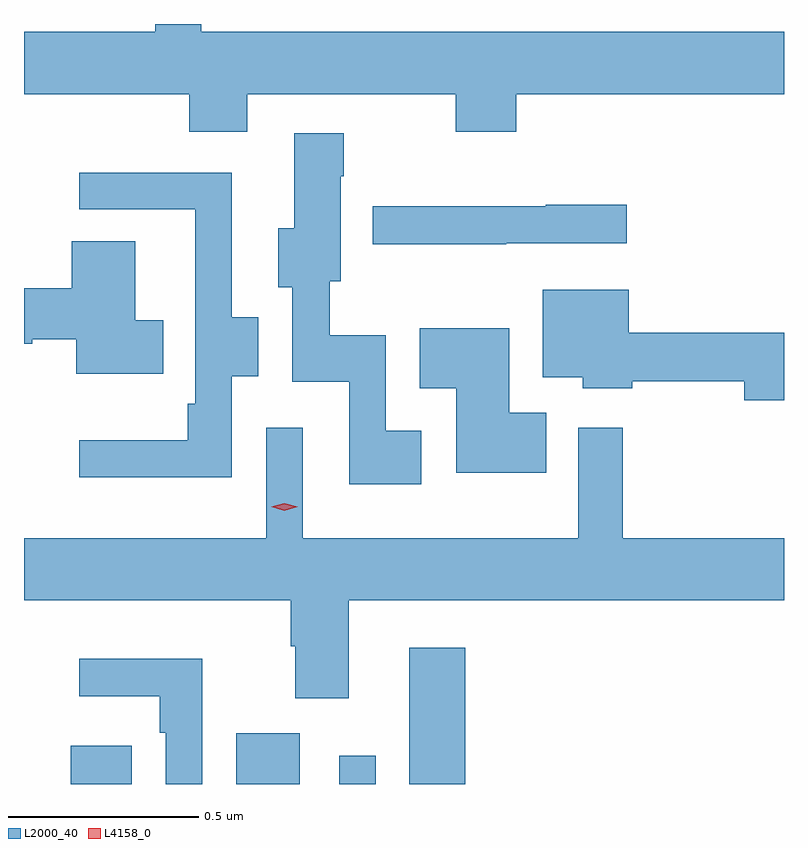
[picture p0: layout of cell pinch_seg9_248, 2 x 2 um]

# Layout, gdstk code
import gdstk
lib = gdstk.Library(unit=1e-6, precision=1e-09)
def R(c, l, rs):  # rectangles x0, y0, x1, y1
    for r in rs: c.add(gdstk.rectangle(r[:2], r[2:], *l))
def P(c, l, *ps):  # polygons
    for p in ps: c.add(gdstk.Polygon(p, *l))
L2000_40 = (2000, 40)
L4158_0 = (4158, 0)

pinch_seg9_248 = lib.new_cell('pinch_seg9_248')
R(pinch_seg9_248, L2000_40, [(411.101,1218.581,411.261,1218.682), (411.536,1218.581,411.703,1218.715), (411.807,1218.581,411.903,1218.655), (411.992,1218.581,412.139,1218.94)])
P(pinch_seg9_248, L2000_40, [(411.323,1220.56),(410.978,1220.56),(410.978,1220.396),(411.413,1220.396),(411.413,1220.297),(411.565,1220.297),(411.565,1220.396),(412.114,1220.396),(412.114,1220.297),(412.274,1220.297),(412.274,1220.396),(412.978,1220.396),(412.978,1220.56),(411.445,1220.56),(411.445,1220.581),(411.323,1220.581)],
  [(412.024,1219.51),(411.93,1219.51),(411.93,1219.762),(411.783,1219.762),(411.783,1219.904),(411.811,1219.904),(411.811,1220.18),(411.819,1220.18),(411.819,1220.293),(411.689,1220.293),(411.689,1220.043),(411.647,1220.043),(411.647,1219.888),(411.684,1219.888),(411.684,1219.64),(411.834,1219.64),(411.834,1219.37),(412.024,1219.37)],
  [(411.525,1219.654),(411.595,1219.654),(411.595,1219.809),(411.525,1219.809),(411.525,1220.19),(411.123,1220.19),(411.123,1220.094),(411.428,1220.094),(411.428,1219.897),(411.429,1219.897),(411.429,1219.582),(411.409,1219.582),(411.409,1219.486),(411.123,1219.486),(411.123,1219.388),(411.525,1219.388)],
  [(412.247,1220.004),(412.564,1220.004),(412.564,1220.105),(412.351,1220.105),(412.351,1220.102),(411.896,1220.102),(411.896,1220.002),(412.247,1220.002)],
  [(411.344,1219.801),(411.271,1219.801),(411.271,1220.009),(411.104,1220.009),(411.104,1219.886),(410.978,1219.886),(410.978,1219.739),(411,1219.739),(411,1219.751),(411.116,1219.751),(411.116,1219.661),(411.344,1219.661)],
  [(412.978,1219.769),(412.57,1219.769),(412.57,1219.882),(412.343,1219.882),(412.343,1219.652),(412.448,1219.652),(412.448,1219.622),(412.578,1219.622),(412.578,1219.641),(412.874,1219.641),(412.874,1219.591),(412.978,1219.591)],
  [(412.352,1219.558),(412.255,1219.558),(412.255,1219.78),(412.019,1219.78),(412.019,1219.622),(412.115,1219.622),(412.115,1219.4),(412.352,1219.4)],
  [(411.832,1219.064),(412.978,1219.064),(412.978,1219.228),(412.553,1219.228),(412.553,1219.519),(412.437,1219.519),(412.437,1219.228),(411.711,1219.228),(411.711,1219.519),(411.615,1219.519),(411.615,1219.228),(410.978,1219.228),(410.978,1219.064),(411.68,1219.064),(411.68,1218.944),(411.692,1218.944),(411.692,1218.807),(411.832,1218.807)],
  [(411.447,1218.91),(411.123,1218.91),(411.123,1218.812),(411.335,1218.812),(411.335,1218.716),(411.351,1218.716),(411.351,1218.581),(411.447,1218.581)])
P(pinch_seg9_248, L4158_0, [(411.663,1219.3),(411.628,1219.31),(411.628,1219.31),(411.628,1219.31),(411.663,1219.32),(411.698,1219.31),(411.698,1219.31),(411.698,1219.31)])

lib.write_gds('pinch_seg9_248.gds')
